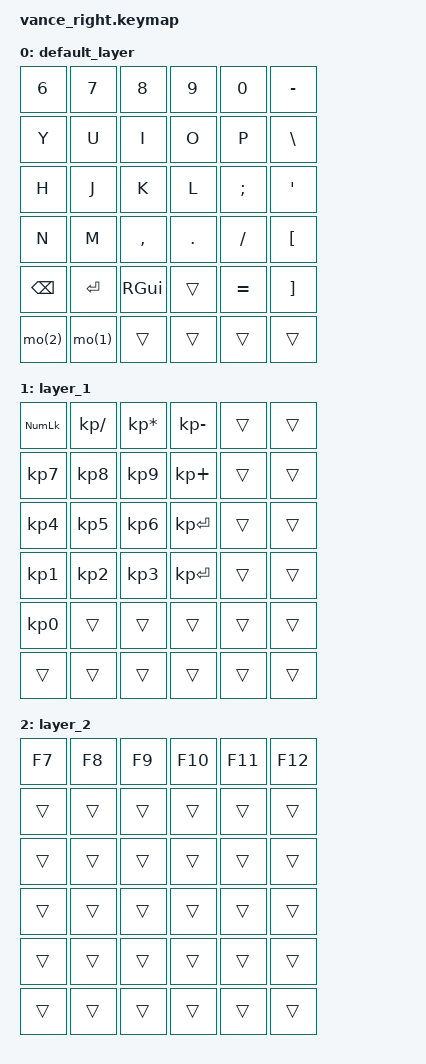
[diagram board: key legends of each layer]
#include <behaviors.dtsi>
#include <dt-bindings/zmk/keys.h>
#include <dt-bindings/zmk/bt.h>

/ {
    keymap {
        compatible = "zmk,keymap";

        default_layer {
            bindings = <
                &kp N6 &kp N7 &kp N8 &kp N9 &kp N0 &kp MINUS
                &kp Y &kp U &kp I &kp O &kp P &kp BSLH
                &kp H &kp J &kp K &kp L &kp SEMI &kp APOS
                &kp N &kp M &kp COMMA &kp DOT &kp FSLH &kp LBKT
                &kp BSPC &kp RET &kp RGUI &trans &kp EQUAL &kp RBKT
                &mo(2) &mo(1) &trans &trans &trans &trans
            >;
        };

        layer_1 {
            bindings = <
                &kp KP_NUMLOCK &kp KP_SLASH &kp KP_ASTERISK &kp KP_MINUS &trans &trans
                &kp KP_N7 &kp KP_N8 &kp KP_N9 &kp KP_PLUS &trans &trans
                &kp KP_N4 &kp KP_N5 &kp KP_N6 &kp KP_ENTER &trans &trans
                &kp KP_N1 &kp KP_N2 &kp KP_N3 &kp KP_ENTER &trans &trans
                &kp KP_N0 &trans &trans &trans &trans &trans
                &trans &trans &trans &trans &trans &trans
            >;
        };

        layer_2 {
            bindings = <
                &kp F7 &kp F8 &kp F9 &kp F10 &kp F11 &kp F12
                &trans &trans &trans &trans &trans &trans
                &trans &trans &trans &trans &trans &trans
                &trans &trans &trans &trans &trans &trans
                &trans &trans &trans &trans &trans &trans
                &trans &trans &trans &trans &trans &trans
            >;
        };
    };
};

